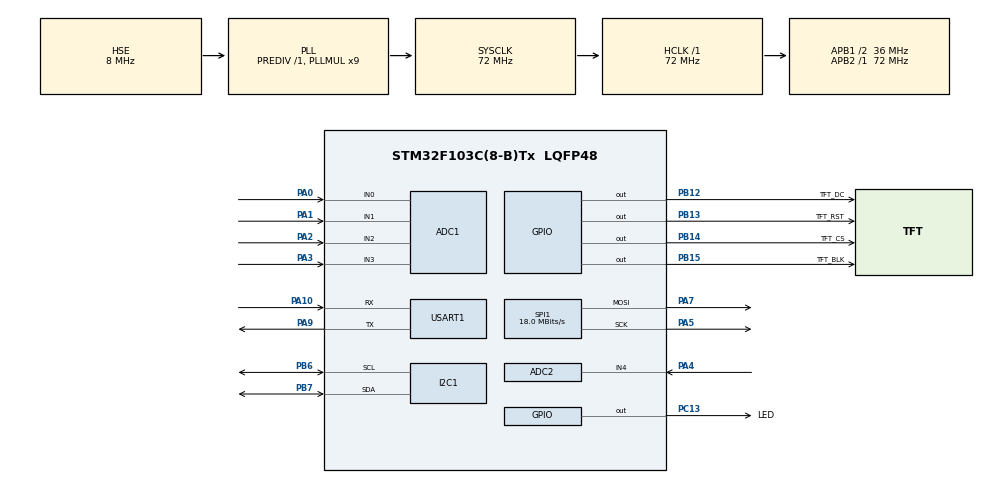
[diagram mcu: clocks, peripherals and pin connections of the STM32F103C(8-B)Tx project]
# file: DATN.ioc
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ADC1.Channel-1\#ChannelRegularConversion=ADC_CHANNEL_0
ADC1.Channel-2\#ChannelRegularConversion=ADC_CHANNEL_1
ADC1.Channel-3\#ChannelRegularConversion=ADC_CHANNEL_2
ADC1.Channel-4\#ChannelRegularConversion=ADC_CHANNEL_3
ADC1.Channel-5\#ChannelRegularConversion=ADC_CHANNEL_4
ADC1.ContinuousConvMode=ENABLE
ADC1.EnableAnalogWatchDog=false
ADC1.NbrOfConversion=5
ADC1.NbrOfConversionFlag=1
ADC1.Rank-1\#ChannelRegularConversion=1
ADC1.Rank-2\#ChannelRegularConversion=2
ADC1.Rank-3\#ChannelRegularConversion=3
ADC1.Rank-4\#ChannelRegularConversion=4
ADC1.Rank-5\#ChannelRegularConversion=5
ADC1.SamplingTime-1\#ChannelRegularConversion=ADC_SAMPLETIME_239CYCLES_5
ADC1.SamplingTime-2\#ChannelRegularConversion=ADC_SAMPLETIME_239CYCLES_5
ADC1.SamplingTime-3\#ChannelRegularConversion=ADC_SAMPLETIME_239CYCLES_5
ADC1.SamplingTime-4\#ChannelRegularConversion=ADC_SAMPLETIME_239CYCLES_5
ADC1.SamplingTime-5\#ChannelRegularConversion=ADC_SAMPLETIME_239CYCLES_5
ADC1.master=1
ADC2.Channel-0\#ChannelRegularConversion=ADC_CHANNEL_4
ADC2.NbrOfConversionFlag=1
ADC2.Rank-0\#ChannelRegularConversion=1
ADC2.SamplingTime-0\#ChannelRegularConversion=ADC_SAMPLETIME_1CYCLE_5
Dma.ADC1.0.Direction=DMA_PERIPH_TO_MEMORY
Dma.ADC1.0.Instance=DMA1_Channel1
Dma.ADC1.0.MemDataAlignment=DMA_MDATAALIGN_HALFWORD
Dma.ADC1.0.MemInc=DMA_MINC_ENABLE
Dma.ADC1.0.Mode=DMA_CIRCULAR
Dma.ADC1.0.PeriphDataAlignment=DMA_PDATAALIGN_HALFWORD
Dma.ADC1.0.PeriphInc=DMA_PINC_DISABLE
Dma.ADC1.0.Priority=DMA_PRIORITY_LOW
Dma.Request0=ADC1
Mcu.Family=STM32F1
Mcu.Name=STM32F103C(8-B)Tx
Mcu.Package=LQFP48
NVIC.DMA1_Channel1_IRQn=true\:0\:0\:false\:false\:true\:false\:true\:true
NVIC.PriorityGroup=NVIC_PRIORITYGROUP_4
NVIC.TIM2_IRQn=true\:0\:0\:false\:false\:true\:true\:true\:true
NVIC.USART1_IRQn=true\:0\:0\:false\:false\:true\:true\:true\:true
PA0-WKUP.Signal=ADCx_IN0
PA1.Signal=ADCx_IN1
PA10.Mode=Asynchronous
PA10.Signal=USART1_RX
PA13.Mode=Serial_Wire
PA13.Signal=SYS_JTMS-SWDIO
PA14.Mode=Serial_Wire
PA14.Signal=SYS_JTCK-SWCLK
PA2.Signal=ADCx_IN2
PA3.Signal=ADCx_IN3
PA4.Signal=ADCx_IN4
PA5.Mode=TX_Only_Simplex_Unidirect_Master
PA5.Signal=SPI1_SCK
PA7.Mode=TX_Only_Simplex_Unidirect_Master
PA7.Signal=SPI1_MOSI
PA9.Mode=Asynchronous
PA9.Signal=USART1_TX
PB12.GPIO_Label=TFT_DC
PB12.Signal=GPIO_Output
PB13.GPIO_Label=TFT_RST
PB13.Signal=GPIO_Output
PB14.GPIO_Label=TFT_CS
PB14.Signal=GPIO_Output
PB15.GPIO_Label=TFT_BLK
PB15.Signal=GPIO_Output
PB6.Mode=I2C
PB6.Signal=I2C1_SCL
PB7.Mode=I2C
PB7.Signal=I2C1_SDA
PC13-TAMPER-RTC.GPIO_Label=LED
PC13-TAMPER-RTC.Signal=GPIO_Output
PD0-OSC_IN.Mode=HSE-External-Oscillator
PD0-OSC_IN.Signal=RCC_OSC_IN
PD1-OSC_OUT.Mode=HSE-External-Oscillator
PD1-OSC_OUT.Signal=RCC_OSC_OUT
ProjectManager.HeapSize=0x200
ProjectManager.StackSize=0x400
ProjectManager.TargetToolchain=MDK-ARM V5.32
RCC.ADCPresc=RCC_ADCPCLK2_DIV6
RCC.AHBFreq_Value=72000000
RCC.APB1CLKDivider=RCC_HCLK_DIV2
RCC.APB1Freq_Value=36000000
RCC.APB1TimFreq_Value=72000000
RCC.APB2Freq_Value=72000000
RCC.APB2TimFreq_Value=72000000
RCC.HCLKFreq_Value=72000000
RCC.PLLMUL=RCC_PLL_MUL9
RCC.PLLSourceVirtual=RCC_PLLSOURCE_HSE
RCC.SYSCLKFreq_VALUE=72000000
RCC.SYSCLKSource=RCC_SYSCLKSOURCE_PLLCLK
RCC.USBFreq_Value=72000000
SH.ADCx_IN0.0=ADC1_IN0,IN0
SH.ADCx_IN1.0=ADC1_IN1,IN1
SH.ADCx_IN2.0=ADC1_IN2,IN2
SH.ADCx_IN3.0=ADC1_IN3,IN3
SH.ADCx_IN4.0=ADC2_IN4,IN4
SH.ADCx_IN4.1=ADC1_IN4,IN4
SPI1.BaudRatePrescaler=SPI_BAUDRATEPRESCALER_4
SPI1.CalculateBaudRate=18.0 MBits/s
SPI1.Direction=SPI_DIRECTION_2LINES
SPI1.Mode=SPI_MODE_MASTER
SPI1.VirtualType=VM_MASTER
TIM2.AutoReloadPreload=TIM_AUTORELOAD_PRELOAD_ENABLE
TIM2.Period=999
TIM2.Prescaler=7199
USART1.VirtualMode=VM_ASYNC
VP_TIM2_VS_ClockSourceINT.Mode=Internal
board=custom

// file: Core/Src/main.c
/* USER CODE BEGIN Header */
/**
  ******************************************************************************
  * @file           : main.c
  * @brief          : Main program body
  ******************************************************************************
  * @attention
  *
  * Copyright (c) 2026 STMicroelectronics.
  * All rights reserved.
  *
  * This software is licensed under terms that can be found in the LICENSE file
  * in the root directory of this software component.
  * If no LICENSE file comes with this software, it is provided AS-IS.
  *
  ******************************************************************************
  */
/* USER CODE END Header */
#include "main.h"

/* USER CODE BEGIN Includes */
#include "INA219.h"
#include "Battery.h"
#include "Temperature.h"
#include "BatteryConfig.h"
#include "SOH.h"
#include <stdio.h>
#include <string.h>
#include "st7789.h"
#include "fonts.h"
#include "ui_dashboard.h"
/* USER CODE END Includes */

ADC_HandleTypeDef hadc1;
ADC_HandleTypeDef hadc2;
DMA_HandleTypeDef hdma_adc1;

I2C_HandleTypeDef hi2c1;

SPI_HandleTypeDef hspi1;

TIM_HandleTypeDef htim2;

UART_HandleTypeDef huart1;

/* USER CODE BEGIN PV */
INA219_t ina219;
uint8_t rxData;
char rxBuffer[50];
uint8_t rxIndex = 0;
uint16_t adc_buffer[5]; // [0]=Temp, [1]=V1, [2]=V2, [3]=V3, [4]=V4
static char txBuff[512];
static char jsonBuff[256];
static char statusStr[20];
static int s_demo_mosfet_override = -1; // -1: Tu dong (theo cam bien), 0: Ep ngat, 1: Ep bat
/* USER CODE END PV */

void SystemClock_Config(void);
static void MX_GPIO_Init(void);
static void MX_DMA_Init(void);
static void MX_ADC1_Init(void);
static void MX_I2C1_Init(void);
static void MX_TIM2_Init(void);
static void MX_USART1_UART_Init(void);
static void MX_SPI1_Init(void);
static void MX_ADC2_Init(void);

/* USER CODE BEGIN 0 */
static void I2C1_BusReset(void)
{
    GPIO_InitTypeDef GPIO_InitStruct = {0};

    // 1. Force Reset ngoại vi I2C1 (giải phóng cờ BUSY phần cứng)
    __HAL_RCC_I2C1_FORCE_RESET();
    HAL_Delay(2);
    __HAL_RCC_I2C1_RELEASE_RESET();

    // 2. Cấu hình tạm PB6 (SCL) và PB7 (SDA) là Output Open-Drain có pull-up
    __HAL_RCC_GPIOB_CLK_ENABLE();
    GPIO_InitStruct.Pin = GPIO_PIN_6 | GPIO_PIN_7;
    GPIO_InitStruct.Mode = GPIO_MODE_OUTPUT_OD;
    GPIO_InitStruct.Pull = GPIO_PULLUP;
    GPIO_InitStruct.Speed = GPIO_SPEED_FREQ_HIGH;
    HAL_GPIO_Init(GPIOB, &GPIO_InitStruct);

    HAL_GPIO_WritePin(GPIOB, GPIO_PIN_6 | GPIO_PIN_7, GPIO_PIN_SET);
    HAL_Delay(1);

    // 3. Nhấp 9 xung clock trên SCL để nhả slave nếu slave đang kéo SDA ở mức thấp
    for (int i = 0; i < 9; i++)
    {
        HAL_GPIO_WritePin(GPIOB, GPIO_PIN_6, GPIO_PIN_RESET);
        for (volatile int d = 0; d < 100; d++);
        HAL_GPIO_WritePin(GPIOB, GPIO_PIN_6, GPIO_PIN_SET);
        for (volatile int d = 0; d < 100; d++);
    }

    // 4. Phát tín hiệu STOP (SCL cao, kéo SDA từ thấp lên cao)
    HAL_GPIO_WritePin(GPIOB, GPIO_PIN_7, GPIO_PIN_RESET);
    for (volatile int d = 0; d < 100; d++);
    HAL_GPIO_WritePin(GPIOB, GPIO_PIN_6, GPIO_PIN_SET);
    for (volatile int d = 0; d < 100; d++);
    HAL_GPIO_WritePin(GPIOB, GPIO_PIN_7, GPIO_PIN_SET);
    HAL_Delay(2);
}
/* USER CODE END 0 */

int main(void)
{

  /* MCU Configuration--------------------------------------------------------*/

  /* Reset of all peripherals, Initializes the Flash interface and the Systick. */
  HAL_Init();

  /* Configure the system clock */
  SystemClock_Config();

  /* Initialize all configured peripherals */
  MX_GPIO_Init();
  MX_DMA_Init();
  MX_ADC1_Init();
  MX_I2C1_Init();
  MX_TIM2_Init();
  MX_USART1_UART_Init();
  MX_SPI1_Init();
  MX_ADC2_Init();
  /* USER CODE BEGIN 2 */
    /* One-shot I2C scan: print responding 7-bit addresses on USART1. */
    {
        char scanMsg[40];
        uint8_t found = 0U;
        int scanLen = snprintf(scanMsg, sizeof(scanMsg), "Battery: I2C1 scan start\r\n");
        HAL_UART_Transmit(&huart1, (uint8_t *)scanMsg, (uint16_t)scanLen, 1000);

        for (uint8_t addr = 1U; addr < 127U; addr++)
        {
            if (HAL_I2C_IsDeviceReady(&hi2c1, (uint16_t)(addr << 1), 2U, 10U) == HAL_OK)
            {
                scanLen = snprintf(scanMsg, sizeof(scanMsg), "Battery: I2C ACK 0x%02X\r\n", addr);
                HAL_UART_Transmit(&huart1, (uint8_t *)scanMsg, (uint16_t)scanLen, 1000);
                found++;
            }
        }

        if (found == 0U)
        {
            scanLen = snprintf(scanMsg, sizeof(scanMsg), "Battery: No I2C devices found\r\n");
            HAL_UART_Transmit(&huart1, (uint8_t *)scanMsg, (uint16_t)scanLen, 1000);
        }
        else
        {
            scanLen = snprintf(scanMsg, sizeof(scanMsg), "Battery: I2C scan done (%u)\r\n", found);
            HAL_UART_Transmit(&huart1, (uint8_t *)scanMsg, (uint16_t)scanLen, 1000);
        }
    }

    BatteryConfig_Init(); // Khởi tạo Database pin (Phả gọi trước Battery_Init)
	Battery.INA219Ready = INA219_Init(&ina219, &hi2c1, INA219_ADDRESS);
	Battery_Init(&ina219);

	Temperature_Init(&hadc1);

	ST7789_Init();
	ST7789_InvertColors(0); // Đảo ngược màu sắc (0 = tắt Inversion, sửa lỗi màu đen thành trắng)
	HAL_GPIO_WritePin(TFT_BLK_GPIO_Port, TFT_BLK_Pin, GPIO_PIN_SET); // Bật đèn nền màn hình
	HAL_Delay(50);
	UI_InitDashboard();

	// Khởi động ngắt nhận UART (RX) để lắng nghe cấu hình từ bên ngoài
	HAL_UART_Receive_IT(&huart1, &rxData, 1);

	// Hiệu chuẩn ADC nội trước khi kích hoạt DMA
	HAL_ADCEx_Calibration_Start(&hadc1);

	// Khởi động lấy mẫu ADC bằng DMA
	HAL_ADC_Start_DMA(&hadc1, (uint32_t*)adc_buffer, 5);
  /* USER CODE END 2 */

  /* Infinite loop */
  while (1)
  {

    /* USER CODE BEGIN 3 */
		Battery_Update();
    Temperature_Update();
    UI_UpdateDashboard(); // Cập nhật màn hình TFT EV Dashboard

    // ==========================================================
    // THUAT TOAN MACH BAO VE BMS (DIEU KHIEN MOSFET PB0)
    // ==========================================================
    uint8_t bms_fault = 0;
    char fault_reason[40] = "NORMAL";

    /* Fail safe on missing core electrical measurements. */
    if (!Battery.INA219Ready || !Battery.BusReadOK)
    {
        bms_fault = 1;
        snprintf(fault_reason, sizeof(fault_reason), "SENSOR ERROR");
    }

    // 1. Bao ve Thap ap (UVP): Ngat neu co Cell < MinVoltage (mac dinh 2.75V)
    for (int i = 0; !bms_fault && i < 4; i++)
    {
        // Neu Cell < MinVoltage (ke ca 0.00V khi rut day / dut day) -> Phai coi la LOI NGUY HIEM va NGAT!
        if (Battery.CellVoltage[i] < BatteryConfig.MinVoltage)
        {
            bms_fault = 1;
            snprintf(fault_reason, sizeof(fault_reason), "UVP Cell %d (%.2fV)", i + 1, Battery.CellVoltage[i]);
            break;
        }
    }

    // 2. Bao ve Qua ap (OVP): Ngat neu co Cell > MaxVoltage + 0.05V (4.25V)
    if (!bms_fault)
    {
        for (int i = 0; i < 4; i++)
        {
            if (Battery.CellVoltage[i] > (BatteryConfig.MaxVoltage + 0.05f))
            {
                bms_fault = 1;
                snprintf(fault_reason, sizeof(fault_reason), "OVP Cell %d (%.2fV)", i + 1, Battery.CellVoltage[i]);
                break;
            }
        }
    }

    // 3. Bao ve Qua nhiet (OTP): Ngat neu nhiet do > 55 do C
    if (!bms_fault && Temp.Voltage > 0.05f && Temp.Temperature > 55.0f)
    {
        bms_fault = 1;
        snprintf(fault_reason, sizeof(fault_reason), "OTP Temp (%.1fC)", Temp.Temperature);
    }

    // 4. Bao ve Qua dong xa (OCP): Ngat neu dong xa > 3.0A
    if (!bms_fault && Battery.Current > 3.0f)
    {
        bms_fault = 1;
        snprintf(fault_reason, sizeof(fault_reason), "OCP Curr (%.2fA)", Battery.Current);
    }

    // 5. Bao ve thong minh bang SENTINEL EDGE AI:
    // Ngat ngay neu AI phat hien bat thuong (1=OVER-V, 2=UNDER-V, 3=OVER-I, 4=OVER-T)
    int ai_cls = UI_GetCurrentAIClass();
    if (!bms_fault && (ai_cls >= 1 && ai_cls <= 4))
    {
        bms_fault = 1;
        const char *ai_names[] = {"NORMAL", "AI: OVER-V", "AI: UNDER-V", "AI: OVER-I", "AI: OVER-T"};
        snprintf(fault_reason, sizeof(fault_reason), "%s", ai_names[ai_cls]);
    }

    // --- RA LENH CHO MOSFET PB0 (QUAT TAI) ---
    if (s_demo_mosfet_override == 1)
    {
        // Che do Demo Web ep bat: BAT MOSFET PB0 (QUAT QUAY)
        HAL_GPIO_WritePin(GPIOB, GPIO_PIN_0, GPIO_PIN_SET);
    }
    else if (s_demo_mosfet_override == 0)
    {
        // Che do Demo Web ep ngat: NGAT MOSFET PB0 (QUAT DUNG)
        HAL_GPIO_WritePin(GPIOB, GPIO_PIN_0, GPIO_PIN_RESET);
    }
    else
    {
        // Che do tu dong (Theo cam bien that va bao ve BMS):
        if (bms_fault)
        {
            // Phat hien su co -> NGAT MOSFET NGAY LAP TUC (VE 0V)
            HAL_GPIO_WritePin(GPIOB, GPIO_PIN_0, GPIO_PIN_RESET);
        }
        else
        {
            // Binh thuong an toan -> BAT MOSFET (CHO PHEP XA TAI)
            HAL_GPIO_WritePin(GPIOB, GPIO_PIN_0, GPIO_PIN_SET);
        }
    }
    // ==========================================================

		switch(Battery.Status)
{
    case BATTERY_IDLE:
        strcpy(statusStr,"IDLE");
        break;

    case BATTERY_CHARGING:
        strcpy(statusStr,"CHARGING");
        break;

    case BATTERY_DISCHARGING:
        strcpy(statusStr,"DISCHARGING");
        break;

    default:
        strcpy(statusStr,"UNKNOWN");
        break;
}

    uint8_t scl_val = HAL_GPIO_ReadPin(GPIOB, GPIO_PIN_6);
    uint8_t sda_val = HAL_GPIO_ReadPin(GPIOB, GPIO_PIN_7);

	sprintf(txBuff,
        "\r\n========== Battery ==========\r\n"
        "Pack Vol: %.2f V\r\n"
        "Battery INA219: init=%s | bus=%s | I=%s | SCL=%d SDA=%d | err=0x%02lX\r\n"
        "Node 1  : %.2f V | Cell 1: %.2f V\r\n"
        "Node 2  : %.2f V | Cell 2: %.2f V\r\n"
        "Node 3  : %.2f V | Cell 3: %.2f V\r\n"
        "Node 4  : %.2f V | Cell 4: %.2f V\r\n"
        "Current : %.3f A\r\n"
        "Power   : %.2f W\r\n"
        "Energy  : %.6f Wh\r\n"
        "Status  : %s\r\n"
        "SOC     : %d %%\r\n"
        "Temp    : %.1f C (PA0: %.3f V, ADC: %u)\r\n"
        "BMS MOS : %s [%s]\r\n"
        "=============================\r\n",

        Battery.Voltage,
        Battery.INA219Ready ? "OK" : "FAIL",
        Battery.BusReadOK ? "OK" : "FAIL",
        Battery.CurrentReadOK ? "OK" : "FAIL",
        scl_val, sda_val,
        hi2c1.ErrorCode,
        Battery.NodeVoltage[0], Battery.CellVoltage[0],
        Battery.NodeVoltage[1], Battery.CellVoltage[1],
        Battery.NodeVoltage[2], Battery.CellVoltage[2],
        Battery.NodeVoltage[3], Battery.CellVoltage[3],
				Battery.Current,
				Battery.Power,
				Battery.Energy,
				statusStr,
				Battery.SOC,
				Temp.Temperature,
				Temp.Voltage,
				adc_buffer[0],
				bms_fault ? "OFF (CUT)" : "ON (OK)",
				fault_reason);

		HAL_UART_Transmit(&huart1,
                  (uint8_t*)txBuff,
                  strlen(txBuff),
                  HAL_MAX_DELAY);
		{
			char sensorStatus[80];
			sprintf(sensorStatus, "Battery INA219: init=%s bus_read=%s current_read=%s\r\n",
				Battery.INA219Ready ? "OK" : "FAIL",
				Battery.BusReadOK ? "OK" : "FAIL",
				Battery.CurrentReadOK ? "OK" : "FAIL");
			HAL_UART_Transmit(&huart1, (uint8_t*)sensorStatus, strlen(sensorStatus), HAL_MAX_DELAY);
		}

		// Gửi JSON riêng biệt để đảm bảo không bị cắt xén
		sprintf(jsonBuff,
			"JSON: {\"V\":%.3f,\"I\":%.3f,\"P\":%.3f,\"E\":%.6f,\"T\":%.1f,\"SOC\":%d,\"SOH\":%d,"
			"\"CV\":[%.3f,%.3f,%.3f,%.3f],\"CSOC\":[%d,%d,%d,%d]}\r\n",
			Battery.Voltage,
			Battery.Current,
			Battery.Power,
			Battery.Energy,
			Temp.Temperature,
			Battery.SOC,
			Battery.SOH,
			Battery.CellVoltage[0], Battery.CellVoltage[1], Battery.CellVoltage[2], Battery.CellVoltage[3],
			Battery.CellSOC[0], Battery.CellSOC[1], Battery.CellSOC[2], Battery.CellSOC[3]);
		HAL_UART_Transmit(&huart1,
			(uint8_t*)jsonBuff,
			strlen(jsonBuff),
			HAL_MAX_DELAY);

	BatteryConfig_Print(&huart1);

    // --- BẢO VỆ NGẮT UART KHỎI LỖI OVERRUN (ORE) ---
    // Nếu bạn gửi lệnh trong lúc STM32 đang bận truyền dữ liệu,
    // phần cứng có thể báo lỗi Overrun và TỰ ĐỘNG TẮT ngắt nhận.
    // Đoạn code này sẽ ép STM32 bật lại ngắt nhận nếu phát hiện nó bị tắt.
    if(huart1.RxState == HAL_UART_STATE_READY)
    {
        __HAL_UART_CLEAR_OREFLAG(&huart1); // Xóa cờ lỗi
        HAL_UART_Receive_IT(&huart1, &rxData, 1); // Bật lại ngắt
    }
    // -----------------------------------------------

    HAL_Delay(1000);
  }
  /* USER CODE END 3 */
}

void SystemClock_Config(void)
{
  RCC_OscInitTypeDef RCC_OscInitStruct = {0};
  RCC_ClkInitTypeDef RCC_ClkInitStruct = {0};
  RCC_PeriphCLKInitTypeDef PeriphClkInit = {0};

  /** Initializes the RCC Oscillators according to the specified parameters
  * in the RCC_OscInitTypeDef structure.
  */
  RCC_OscInitStruct.OscillatorType = RCC_OSCILLATORTYPE_HSE;
  RCC_OscInitStruct.HSEState = RCC_HSE_ON;
  RCC_OscInitStruct.HSEPredivValue = RCC_HSE_PREDIV_DIV1;
  RCC_OscInitStruct.HSIState = RCC_HSI_ON;
  RCC_OscInitStruct.PLL.PLLState = RCC_PLL_ON;
  RCC_OscInitStruct.PLL.PLLSource = RCC_PLLSOURCE_HSE;
  RCC_OscInitStruct.PLL.PLLMUL = RCC_PLL_MUL9;
  if (HAL_RCC_OscConfig(&RCC_OscInitStruct) != HAL_OK)
  {
    Error_Handler();
  }

  /** Initializes the CPU, AHB and APB buses clocks
  */
  RCC_ClkInitStruct.ClockType = RCC_CLOCKTYPE_HCLK|RCC_CLOCKTYPE_SYSCLK
                              |RCC_CLOCKTYPE_PCLK1|RCC_CLOCKTYPE_PCLK2;
  RCC_ClkInitStruct.SYSCLKSource = RCC_SYSCLKSOURCE_PLLCLK;
  RCC_ClkInitStruct.AHBCLKDivider = RCC_SYSCLK_DIV1;
  RCC_ClkInitStruct.APB1CLKDivider = RCC_HCLK_DIV2;
  RCC_ClkInitStruct.APB2CLKDivider = RCC_HCLK_DIV1;

  if (HAL_RCC_ClockConfig(&RCC_ClkInitStruct, FLASH_LATENCY_2) != HAL_OK)
  {
    Error_Handler();
  }
  PeriphClkInit.PeriphClockSelection = RCC_PERIPHCLK_ADC;
  PeriphClkInit.AdcClockSelection = RCC_ADCPCLK2_DIV6;
  if (HAL_RCCEx_PeriphCLKConfig(&PeriphClkInit) != HAL_OK)
  {
    Error_Handler();
  }
}

static void MX_ADC1_Init(void)
{

  ADC_ChannelConfTypeDef sConfig = {0};

  /** Common config
  */
  hadc1.Instance = ADC1;
  hadc1.Init.ScanConvMode = ADC_SCAN_ENABLE;
  hadc1.Init.ContinuousConvMode = ENABLE;
  hadc1.Init.DiscontinuousConvMode = DISABLE;
  hadc1.Init.ExternalTrigConv = ADC_SOFTWARE_START;
  hadc1.Init.DataAlign = ADC_DATAALIGN_RIGHT;
  hadc1.Init.NbrOfConversion = 5;
  if (HAL_ADC_Init(&hadc1) != HAL_OK)
  {
    Error_Handler();
  }

  /** Configure Regular Channel
  */
  sConfig.Channel = ADC_CHANNEL_0;
  sConfig.Rank = ADC_REGULAR_RANK_1;
  sConfig.SamplingTime = ADC_SAMPLETIME_239CYCLES_5;
  if (HAL_ADC_ConfigChannel(&hadc1, &sConfig) != HAL_OK)
  {
    Error_Handler();
  }

  /** Configure Regular Channel
  */
  sConfig.Channel = ADC_CHANNEL_1;
  sConfig.Rank = ADC_REGULAR_RANK_2;
  if (HAL_ADC_ConfigChannel(&hadc1, &sConfig) != HAL_OK)
  {
    Error_Handler();
  }

  /** Configure Regular Channel
  */
  sConfig.Channel = ADC_CHANNEL_2;
  sConfig.Rank = ADC_REGULAR_RANK_3;
  if (HAL_ADC_ConfigChannel(&hadc1, &sConfig) != HAL_OK)
  {
    Error_Handler();
  }

  /** Configure Regular Channel
  */
  sConfig.Channel = ADC_CHANNEL_3;
  sConfig.Rank = ADC_REGULAR_RANK_4;
  if (HAL_ADC_ConfigChannel(&hadc1, &sConfig) != HAL_OK)
  {
    Error_Handler();
  }

  /** Configure Regular Channel
  */
  sConfig.Channel = ADC_CHANNEL_4;
  sConfig.Rank = ADC_REGULAR_RANK_5;
  if (HAL_ADC_ConfigChannel(&hadc1, &sConfig) != HAL_OK)
  {
    Error_Handler();
  }

}

static void MX_ADC2_Init(void)
{

  ADC_ChannelConfTypeDef sConfig = {0};

  /** Common config
  */
  hadc2.Instance = ADC2;
  hadc2.Init.ScanConvMode = ADC_SCAN_DISABLE;
  hadc2.Init.ContinuousConvMode = DISABLE;
  hadc2.Init.DiscontinuousConvMode = DISABLE;
  hadc2.Init.ExternalTrigConv = ADC_SOFTWARE_START;
  hadc2.Init.DataAlign = ADC_DATAALIGN_RIGHT;
  hadc2.Init.NbrOfConversion = 1;
  if (HAL_ADC_Init(&hadc2) != HAL_OK)
  {
    Error_Handler();
  }

  /** Configure Regular Channel
  */
  sConfig.Channel = ADC_CHANNEL_4;
  sConfig.Rank = ADC_REGULAR_RANK_1;
  sConfig.SamplingTime = ADC_SAMPLETIME_1CYCLE_5;
  if (HAL_ADC_ConfigChannel(&hadc2, &sConfig) != HAL_OK)
  {
    Error_Handler();
  }

}

static void MX_I2C1_Init(void)
{

  hi2c1.Instance = I2C1;
  hi2c1.Init.ClockSpeed = 100000;
  hi2c1.Init.DutyCycle = I2C_DUTYCYCLE_2;
  hi2c1.Init.OwnAddress1 = 0;
  hi2c1.Init.AddressingMode = I2C_ADDRESSINGMODE_7BIT;
  hi2c1.Init.DualAddressMode = I2C_DUALADDRESS_DISABLE;
  hi2c1.Init.OwnAddress2 = 0;
  hi2c1.Init.GeneralCallMode = I2C_GENERALCALL_DISABLE;
  hi2c1.Init.NoStretchMode = I2C_NOSTRETCH_DISABLE;
  if (HAL_I2C_Init(&hi2c1) != HAL_OK)
  {
    Error_Handler();
  }

}

static void MX_SPI1_Init(void)
{

  /* SPI1 parameter configuration*/
  hspi1.Instance = SPI1;
  hspi1.Init.Mode = SPI_MODE_MASTER;
  hspi1.Init.Direction = SPI_DIRECTION_2LINES;
  hspi1.Init.DataSize = SPI_DATASIZE_8BIT;
  hspi1.Init.CLKPolarity = SPI_POLARITY_LOW;
  hspi1.Init.CLKPhase = SPI_PHASE_1EDGE;
  hspi1.Init.NSS = SPI_NSS_SOFT;
  hspi1.Init.BaudRatePrescaler = SPI_BAUDRATEPRESCALER_4;
  hspi1.Init.FirstBit = SPI_FIRSTBIT_MSB;
  hspi1.Init.TIMode = SPI_TIMODE_DISABLE;
  hspi1.Init.CRCCalculation = SPI_CRCCALCULATION_DISABLE;
  hspi1.Init.CRCPolynomial = 10;
  if (HAL_SPI_Init(&hspi1) != HAL_OK)
  {
    Error_Handler();
  }

}

static void MX_TIM2_Init(void)
{

  TIM_ClockConfigTypeDef sClockSourceConfig = {0};
  TIM_MasterConfigTypeDef sMasterConfig = {0};

  htim2.Instance = TIM2;
  htim2.Init.Prescaler = 7199;
  htim2.Init.CounterMode = TIM_COUNTERMODE_UP;
  htim2.Init.Period = 999;
  htim2.Init.ClockDivision = TIM_CLOCKDIVISION_DIV1;
  htim2.Init.AutoReloadPreload = TIM_AUTORELOAD_PRELOAD_ENABLE;
  if (HAL_TIM_Base_Init(&htim2) != HAL_OK)
  {
    Error_Handler();
  }
  sClockSourceConfig.ClockSource = TIM_CLOCKSOURCE_INTERNAL;
  if (HAL_TIM_ConfigClockSource(&htim2, &sClockSourceConfig) != HAL_OK)
  {
    Error_Handler();
  }
  sMasterConfig.MasterOutputTrigger = TIM_TRGO_RESET;
  sMasterConfig.MasterSlaveMode = TIM_MASTERSLAVEMODE_DISABLE;
  if (HAL_TIMEx_MasterConfigSynchronization(&htim2, &sMasterConfig) != HAL_OK)
  {
    Error_Handler();
  }

}

static void MX_USART1_UART_Init(void)
{

  huart1.Instance = USART1;
  huart1.Init.BaudRate = 115200;
  huart1.Init.WordLength = UART_WORDLENGTH_8B;
  huart1.Init.StopBits = UART_STOPBITS_1;
  huart1.Init.Parity = UART_PARITY_NONE;
  huart1.Init.Mode = UART_MODE_TX_RX;
  huart1.Init.HwFlowCtl = UART_HWCONTROL_NONE;
  huart1.Init.OverSampling = UART_OVERSAMPLING_16;
  if (HAL_UART_Init(&huart1) != HAL_OK)
  {
    Error_Handler();
  }

}

static void MX_DMA_Init(void)
{

  /* DMA controller clock enable */
  __HAL_RCC_DMA1_CLK_ENABLE();

  /* DMA interrupt init */
  /* DMA1_Channel1_IRQn interrupt configuration */
  HAL_NVIC_SetPriority(DMA1_Channel1_IRQn, 0, 0);
  HAL_NVIC_EnableIRQ(DMA1_Channel1_IRQn);

}

static void MX_GPIO_Init(void)
{
  GPIO_InitTypeDef GPIO_InitStruct = {0};

  /* GPIO Ports Clock Enable */
  __HAL_RCC_GPIOC_CLK_ENABLE();
  __HAL_RCC_GPIOD_CLK_ENABLE();
  __HAL_RCC_GPIOA_CLK_ENABLE();
  __HAL_RCC_GPIOB_CLK_ENABLE();

  /*Configure GPIO pin Output Level */
  HAL_GPIO_WritePin(LED_GPIO_Port, LED_Pin, GPIO_PIN_RESET);

  /*Configure GPIO pin Output Level */
  HAL_GPIO_WritePin(GPIOB, TFT_DC_Pin|TFT_RST_Pin|TFT_CS_Pin, GPIO_PIN_SET);
  HAL_GPIO_WritePin(GPIOB, TFT_BLK_Pin, GPIO_PIN_RESET);

  /*Configure GPIO pin : LED_Pin */
  GPIO_InitStruct.Pin = LED_Pin;
  GPIO_InitStruct.Mode = GPIO_MODE_OUTPUT_PP;
  GPIO_InitStruct.Pull = GPIO_NOPULL;
  GPIO_InitStruct.Speed = GPIO_SPEED_FREQ_LOW;
  HAL_GPIO_Init(LED_GPIO_Port, &GPIO_InitStruct);

  /*Configure GPIO pins : TFT_DC_Pin TFT_RST_Pin TFT_CS_Pin
                           TFT_BLK_Pin */
  GPIO_InitStruct.Pin = TFT_DC_Pin|TFT_RST_Pin|TFT_CS_Pin|TFT_BLK_Pin;
  GPIO_InitStruct.Mode = GPIO_MODE_OUTPUT_PP;
  GPIO_InitStruct.Pull = GPIO_NOPULL;
  GPIO_InitStruct.Speed = GPIO_SPEED_FREQ_HIGH;
  HAL_GPIO_Init(GPIOB, &GPIO_InitStruct);

  /* USER CODE BEGIN MX_GPIO_Init_2 */
  // Cau hinh PB0 dieu khien MOSFET mach bao ve BMS
  GPIO_InitStruct.Pin = GPIO_PIN_0;
  GPIO_InitStruct.Mode = GPIO_MODE_OUTPUT_PP;
  GPIO_InitStruct.Pull = GPIO_NOPULL;
  GPIO_InitStruct.Speed = GPIO_SPEED_FREQ_LOW;
  HAL_GPIO_Init(GPIOB, &GPIO_InitStruct);

  // Mac dinh ban dau ngat tai de an toan
  HAL_GPIO_WritePin(GPIOB, GPIO_PIN_0, GPIO_PIN_RESET);
  /* USER CODE END MX_GPIO_Init_2 */
}

/* USER CODE BEGIN 4 */
uint8_t current_page = 0;
// Hàm ngắt nhận dữ liệu UART (Được gọi tự động mỗi khi nhận 1 byte)
void HAL_UART_RxCpltCallback(UART_HandleTypeDef *huart)
{
    if(huart->Instance == USART1)
    {
        // Nhận dữ liệu cho đến khi gặp ký tự kết thúc \n hoặc \r
        if(rxData != '\n' && rxData != '\r')
        {
            if(rxIndex < sizeof(rxBuffer) - 1)
            {
                rxBuffer[rxIndex++] = rxData;
            }
        }
        else
        {
            if (rxIndex > 0)
            {
                rxBuffer[rxIndex] = '\0'; // Kết thúc chuỗi để xử lý

                // Kiểm tra lệnh cấu hình chọn pin từ Database (Ví dụ: SET_PIN:3)
                // 1. Kiem tra ket qua Edge AI tu ESP32 gui ve (Vi du: AI_RES:5,81.5)
                if(strncmp(rxBuffer, "AI_RES:", 7) == 0)
                {
                    int ai_cls = 0;
                    float ai_sc = 0.0f;
                    if(sscanf(&rxBuffer[7], "%d,%f", &ai_cls, &ai_sc) >= 1)
                    {
                        UI_UpdateEdgeAI(ai_cls, ai_sc);
                    }
                }
                // 2. Kiem tra lenh dieu khien MOSFET tu Che do Demo Web (MOSFET:1, MOSFET:0, MOSFET:AUTO)
                else if(strncmp(rxBuffer, "MOSFET:", 7) == 0)
                {
                    if(strncmp(&rxBuffer[7], "1", 1) == 0)
                    {
                        s_demo_mosfet_override = 1;  // Ep bat quat (MOSFET PB0 = 1)
                    }
                    else if(strncmp(&rxBuffer[7], "0", 1) == 0)
                    {
                        s_demo_mosfet_override = 0;  // Ep tat quat (MOSFET PB0 = 0)
                    }
                    else
                    {
                        s_demo_mosfet_override = -1; // Quay ve tu dong theo cam bien that
                    }
                }
                // 3. Kiem tra lenh cau hinh chon pin tu Database (Vi du: SET_PIN:3)
                else if(strncmp(rxBuffer, "SET_PIN:", 8) == 0)
                {
                    int id = 0;
                    sscanf(&rxBuffer[8], "%d", &id);

                    if(id >= 0 && id <= 7) // Hỗ trợ từ ID 0 đến 7
                    {
                        BatteryConfig_Select(id);
                    }
                }
                rxIndex = 0;
            }
        }
        HAL_UART_Receive_IT(&huart1, &rxData, 1);
    }
}
/* USER CODE END 4 */

void Error_Handler(void)
{
  __disable_irq();
  while (1)
  {
  }
}
